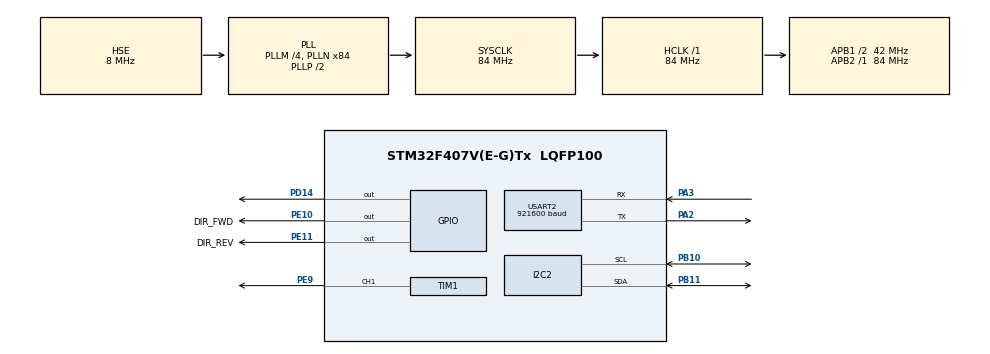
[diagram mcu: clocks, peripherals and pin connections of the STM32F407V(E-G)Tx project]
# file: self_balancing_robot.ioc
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Dma.I2C2_RX.1.Direction=DMA_PERIPH_TO_MEMORY
Dma.I2C2_RX.1.FIFOMode=DMA_FIFOMODE_DISABLE
Dma.I2C2_RX.1.Instance=DMA1_Stream2
Dma.I2C2_RX.1.MemDataAlignment=DMA_MDATAALIGN_BYTE
Dma.I2C2_RX.1.MemInc=DMA_MINC_ENABLE
Dma.I2C2_RX.1.Mode=DMA_NORMAL
Dma.I2C2_RX.1.PeriphDataAlignment=DMA_PDATAALIGN_BYTE
Dma.I2C2_RX.1.PeriphInc=DMA_PINC_DISABLE
Dma.I2C2_RX.1.Priority=DMA_PRIORITY_LOW
Dma.I2C2_TX.2.Direction=DMA_MEMORY_TO_PERIPH
Dma.I2C2_TX.2.FIFOMode=DMA_FIFOMODE_DISABLE
Dma.I2C2_TX.2.Instance=DMA1_Stream7
Dma.I2C2_TX.2.MemDataAlignment=DMA_MDATAALIGN_BYTE
Dma.I2C2_TX.2.MemInc=DMA_MINC_ENABLE
Dma.I2C2_TX.2.Mode=DMA_NORMAL
Dma.I2C2_TX.2.PeriphDataAlignment=DMA_PDATAALIGN_BYTE
Dma.I2C2_TX.2.PeriphInc=DMA_PINC_DISABLE
Dma.I2C2_TX.2.Priority=DMA_PRIORITY_LOW
Dma.Request0=USART2_TX
Dma.Request1=I2C2_RX
Dma.Request2=I2C2_TX
Dma.USART2_TX.0.Direction=DMA_MEMORY_TO_PERIPH
Dma.USART2_TX.0.FIFOMode=DMA_FIFOMODE_DISABLE
Dma.USART2_TX.0.Instance=DMA1_Stream6
Dma.USART2_TX.0.MemDataAlignment=DMA_MDATAALIGN_BYTE
Dma.USART2_TX.0.MemInc=DMA_MINC_ENABLE
Dma.USART2_TX.0.Mode=DMA_NORMAL
Dma.USART2_TX.0.PeriphDataAlignment=DMA_PDATAALIGN_BYTE
Dma.USART2_TX.0.PeriphInc=DMA_PINC_DISABLE
Dma.USART2_TX.0.Priority=DMA_PRIORITY_LOW
I2C2.I2C_Mode=I2C_Fast
Mcu.Family=STM32F4
Mcu.Name=STM32F407V(E-G)Tx
Mcu.Package=LQFP100
NVIC.DMA1_Stream2_IRQn=true\:0\:0\:false\:false\:true\:false\:true\:true
NVIC.DMA1_Stream6_IRQn=true\:0\:0\:false\:false\:true\:false\:true\:true
NVIC.DMA1_Stream7_IRQn=true\:0\:0\:false\:false\:true\:false\:true\:true
NVIC.I2C2_ER_IRQn=true\:0\:0\:false\:false\:true\:true\:true\:true
NVIC.I2C2_EV_IRQn=true\:0\:0\:false\:false\:true\:true\:true\:true
NVIC.PriorityGroup=NVIC_PRIORITYGROUP_4
NVIC.TIM6_DAC_IRQn=true\:0\:0\:false\:false\:true\:true\:true\:true
NVIC.USART2_IRQn=true\:0\:0\:false\:false\:true\:true\:true\:true
PA2.Mode=Asynchronous
PA2.Signal=USART2_TX
PA3.Mode=Asynchronous
PA3.Signal=USART2_RX
PB10.Mode=I2C
PB10.Signal=I2C2_SCL
PB11.Mode=I2C
PB11.Signal=I2C2_SDA
PD14.Signal=GPIO_Output
PE10.GPIO_Label=DIR_FWD
PE10.Signal=GPIO_Output
PE11.GPIO_Label=DIR_REV
PE11.Signal=GPIO_Output
PE9.Signal=S_TIM1_CH1
PH0-OSC_IN.Mode=HSE-External-Oscillator
PH0-OSC_IN.Signal=RCC_OSC_IN
PH1-OSC_OUT.Mode=HSE-External-Oscillator
PH1-OSC_OUT.Signal=RCC_OSC_OUT
ProjectManager.HeapSize=0x200
ProjectManager.StackSize=0x400
ProjectManager.TargetToolchain=STM32CubeIDE
RCC.48MHZClocksFreq_Value=24000000
RCC.AHBFreq_Value=84000000
RCC.APB1CLKDivider=RCC_HCLK_DIV2
RCC.APB1Freq_Value=42000000
RCC.APB1TimFreq_Value=84000000
RCC.APB2Freq_Value=84000000
RCC.APB2TimFreq_Value=84000000
RCC.CortexFreq_Value=84000000
RCC.HCLKFreq_Value=84000000
RCC.HSE_VALUE=8000000
RCC.HSI_VALUE=16000000
RCC.LSE_VALUE=32768
RCC.PLLM=4
RCC.PLLN=84
RCC.PLLQ=7
RCC.PLLSourceVirtual=RCC_PLLSOURCE_HSE
RCC.SYSCLKFreq_VALUE=84000000
RCC.SYSCLKSource=RCC_SYSCLKSOURCE_PLLCLK
RCC.VCOOutputFreq_Value=168000000
SH.S_TIM1_CH1.0=TIM1_CH1,PWM Generation1 CH1
TIM1.Channel-PWM\ Generation1\ CH1=TIM_CHANNEL_1
TIM1.Period=4199
TIM6.AutoReloadPreload=TIM_AUTORELOAD_PRELOAD_DISABLE
TIM6.Period=49
TIM6.Prescaler=8399
USART2.BaudRate=921600
USART2.VirtualMode=VM_ASYNC
VP_TIM1_VS_ClockSourceINT.Mode=Internal
VP_TIM6_VS_ClockSourceINT.Mode=Enable_Timer
board=custom

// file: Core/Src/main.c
/* USER CODE BEGIN Header */
/**
 ******************************************************************************
 * @file           : main.c
 * @brief          : Main program body
 ******************************************************************************
 * @attention
 *
 * Copyright (c) 2025 STMicroelectronics.
 * All rights reserved.
 *
 * This software is licensed under terms that can be found in the LICENSE file
 * in the root directory of this software component.
 * If no LICENSE file comes with this software, it is provided AS-IS.
 *
 ******************************************************************************
 */
/* USER CODE END Header */
#include "main.h"

/* USER CODE BEGIN Includes */
#include <string.h>
#include <stdio.h>
#include <stdbool.h>
#include <math.h>
#include <float.h>
/* USER CODE END Includes */

/* USER CODE BEGIN PD */
#define MPU_WHO_AM_I 0x75    // WHO_AM_I
#define MPU_ADDR (0x68 << 1) // MPU6050 I2C addr
#define MPU_PWR_MGMT_1 0x6B  // Wake, PLL X
#define MPU_CONFIG 0x1A
#define MPU_SMPLRT_DIV 0x19
#define MPU_GYRO_CONFIG 0x1B
#define MPU_ACCEL_CONFIG 0x1C
#define MPU_INT 0x38
#define MPU_USER_CTRL 0x6A
#define MPU_ACCEL_XOUT_H 0x3B
#define ACCEL_LSB_PER_G 16384.0f
#define GYRO_LSB_PER_DPS 131.0f

/* USER CODE END PD */

/* USER CODE BEGIN PM */
/* Minimal state */
static volatile uint8_t i2c_busy = 0;      /* I2C DMA busy */
static volatile uint8_t data_ready = 0;    /* New sample ready */
static volatile uint8_t uart_tx_ready = 1; /* UART DMA idle */
static char uart_tx_buf[256];              /* UART TX buffer */
/* 1 s pacing (TIM6 200 Hz) */
static volatile uint16_t tick_count = 0;
static volatile uint8_t second_flag = 0; /* 1 Hz tick */
/* USER CODE END PM */

I2C_HandleTypeDef hi2c2;
DMA_HandleTypeDef hdma_i2c2_rx;
DMA_HandleTypeDef hdma_i2c2_tx;

TIM_HandleTypeDef htim1;
TIM_HandleTypeDef htim6;

UART_HandleTypeDef huart2;
DMA_HandleTypeDef hdma_usart2_tx;

/* USER CODE BEGIN PV */
/* MPU6050 sample (14B) */
static uint8_t mpu_buf[14];

/* Raw */
static int16_t ax_raw, ay_raw, az_raw;
static int16_t gx_raw, gy_raw, gz_raw;
static int16_t temp_raw;

/* Units */
static float ax_g, az_g;
// static float ay_g; // omitted
static float gy_dps;
// static float gx_dps, gz_dps // omitted
// static float temp_c; // omitted

/* Config */
/* PID gains (PWM counts if u_max = ARR) */
static float Kp = 1050.0f; /* P */
static float Ki = 5.0f;    /* I */
static float Kd = 0.25f;   /* D (gyro) */

/* Power & deadband */
static float max_power_scale = 0.8f; /* max duty scale */
static float min_power_scale = 0.0f; /* min duty scale */

static float max_deadband = 0.0f; /* angle to enable output */
static float min_deadband = 0.0f; /* angle to reset */

static float safety_angle_deg = 35.0f; /* tilt cutoff (deg) */

static float offset_angle = -1.5f; /* angle offset */

/* Integral clamp */
static float integral_limit = 5000.0f;

/* Complementary filter */
static float cf_alpha = 0.95f;

/* Timing */
static const float dt = 0.005f; /* 1/200 Hz */

/* State */
static float pitch_acc_deg = 0.0f; /* accel-only pitch */
static float pitch_deg = 0.0f;     /* fused pitch */
static float error;
static float prev_pitch_deg = 0.0f;                    /* last fused angle */
static float pid_P = 0.0f, pid_I = 0.0f, pid_D = 0.0f; /* PID terms */
static float pid_u = 0.0f;                             /* control output */
static uint8_t attitude_initialized = 0;               /* accel seed done */

/* Loop timing (us) */
static uint32_t loop_time_us = 0; /* last loop */

/* Cycle counter */
uint32_t arr;
float duty;
float max_duty;
float min_duty;

/* USER CODE END PV */

void SystemClock_Config(void);
static void MX_GPIO_Init(void);
static void MX_DMA_Init(void);
static void MX_TIM6_Init(void);
static void MX_USART2_UART_Init(void);
static void MX_TIM1_Init(void);
static void MX_I2C2_Init(void);

/* USER CODE BEGIN 0 */
static HAL_StatusTypeDef mpu_read_u8(uint8_t reg, uint8_t *val)
{
  return HAL_I2C_Mem_Read(&hi2c2, MPU_ADDR, reg, I2C_MEMADD_SIZE_8BIT, val, 1, 100);
}

static HAL_StatusTypeDef mpu_write_u8(uint8_t reg, uint8_t val)
{
  return HAL_I2C_Mem_Write(&hi2c2, MPU_ADDR, reg, I2C_MEMADD_SIZE_8BIT, &val, 1, 100);
}

static HAL_StatusTypeDef mpu_read_burst_dma(uint8_t start_reg, uint8_t *buf, uint16_t len)
{
  /* I2C Mem Read w/ DMA */
  return HAL_I2C_Mem_Read_DMA(&hi2c2, MPU_ADDR, start_reg, I2C_MEMADD_SIZE_8BIT, buf, len);
}

static bool mpu_init_200hz(void)
{
  /* Read WHO_AM_I */
  uint8_t who = 0;
  if (mpu_read_u8(MPU_WHO_AM_I, &who) != HAL_OK)
  {
    return false;
  }

  /* Accept IDs 0x68/0x69/0x70 */
  if (!(who == 0x68 || who == 0x69 || who == 0x70))
  {
    return false;
  }

  /* Wake + PLL X gyro */
  if (mpu_write_u8(MPU_PWR_MGMT_1, 0x01) != HAL_OK)
    return false;
  HAL_Delay(10);

  /* DLPF=3 */
  if (mpu_write_u8(MPU_CONFIG, 0x03) != HAL_OK)
    return false;

  /* ODR 200 Hz */
  if (mpu_write_u8(MPU_SMPLRT_DIV, 0x04) != HAL_OK)
    return false;

  /* Gyro ±250 dps, Accel ±2 g */
  if (mpu_write_u8(MPU_GYRO_CONFIG, 0x00) != HAL_OK)
    return false;
  if (mpu_write_u8(MPU_ACCEL_CONFIG, 0x00) != HAL_OK)
    return false;

  /* Disable INT/FIFO/master */
  (void)mpu_write_u8(MPU_INT, 0x00);
  (void)mpu_write_u8(MPU_USER_CTRL, 0x00);

  return true;
}

static void transmit_once_per_second(void)
{
  if (!second_flag || !uart_tx_ready)
    return;
  second_flag = 0;
  /* Once/sec log */
  int n = snprintf(uart_tx_buf, sizeof(uart_tx_buf),
                   "P= %.1f I= %.1f D= %.1f | Angle= %.2f error= %.2f PWM= %.0f PID= %.1f | loop_us= %lu\r\n",
                   pid_P, pid_I, pid_D, pitch_deg, error, duty, pid_u, (unsigned long)loop_time_us);
  if (n > 0)
  {
    uart_tx_ready = 0;
    if (HAL_UART_Transmit_DMA(&huart2, (uint8_t *)uart_tx_buf, (uint16_t)n) != HAL_OK)
    {
      uart_tx_ready = 1;
    }
  }
}

/* ===================== Control & PID =====================*/

/* Enable DWT cycle counter */
static void cycle_counter_init(void)
{
  CoreDebug->DEMCR |= CoreDebug_DEMCR_TRCENA_Msk; /* enable trace */
#ifdef DWT_LAR
  DWT->LAR = 0xC5ACCE55; /* unlock */
#endif
  DWT->CYCCNT = 0;                     /* reset */
  DWT->CTRL |= DWT_CTRL_CYCCNTENA_Msk; /* start */
}

/* cycles->us */
static uint32_t cycles_to_us(uint32_t cycles)
{
  return (uint32_t)((uint64_t)cycles * 1000000ULL / SystemCoreClock);
}

/* Drive motors from PID output */
static void motor_set_output(float u_counts, float current_pitch_deg)
{
  /* CH1 PWM, two DIR pins */

  /* Tilt cutoff */
  if (fabsf(current_pitch_deg) > safety_angle_deg)
  {
    __HAL_TIM_SET_COMPARE(&htim1, TIM_CHANNEL_1, 0);
    pid_u = 0.0f;
    pid_I = 0.0f;
    pid_D = 0.0f;

    HAL_GPIO_WritePin(DIR_FWD_GPIO_Port, DIR_FWD_Pin, GPIO_PIN_RESET);
    HAL_GPIO_WritePin(DIR_REV_GPIO_Port, DIR_REV_Pin, GPIO_PIN_RESET);
    return;
  }

  /* Angle deadband */
  float abs_angle = fabsf(current_pitch_deg);

  if (abs_angle < min_deadband)
  {
    // tight zone: zero and reset I
    duty = 0.0f;
    pid_I = 0.0f;
  }
  else if (abs_angle > max_deadband)
  {
    // outside: compute duty
    duty = fabsf(u_counts);
    duty = min_duty + ((duty / arr) * (max_duty - min_duty));
    if (duty > max_duty)
      duty = max_duty;
  }
  else
  {
    // between: keep duty
  }

  /* PWM */
  __HAL_TIM_SET_COMPARE(&htim1, TIM_CHANNEL_1, (uint32_t)duty);

  /* Dir */
  if (duty == 0.0f)
  {
    HAL_GPIO_WritePin(DIR_FWD_GPIO_Port, DIR_FWD_Pin, GPIO_PIN_RESET);
    HAL_GPIO_WritePin(DIR_REV_GPIO_Port, DIR_REV_Pin, GPIO_PIN_RESET);
  }
  else if (u_counts >= 0.0f)
  {
    HAL_GPIO_WritePin(DIR_FWD_GPIO_Port, DIR_FWD_Pin, GPIO_PIN_SET);
    HAL_GPIO_WritePin(DIR_REV_GPIO_Port, DIR_REV_Pin, GPIO_PIN_RESET);
  }
  else
  {
    HAL_GPIO_WritePin(DIR_FWD_GPIO_Port, DIR_FWD_Pin, GPIO_PIN_RESET);
    HAL_GPIO_WritePin(DIR_REV_GPIO_Port, DIR_REV_Pin, GPIO_PIN_SET);
  }
}

/* 200 Hz control loop */
static void control_update(void)
{
  uint32_t start_cycles = DWT->CYCCNT;

  /* Pitch (deg): atan2(-Ax, Az) */
  pitch_acc_deg = atan2f(-ax_g, az_g) * 57.2957795131f;

  if (!attitude_initialized)
  {
    prev_pitch_deg = pitch_acc_deg;
    attitude_initialized = 1;
  }

  /* Complementary filter */
  pitch_deg = cf_alpha * (prev_pitch_deg + gy_dps * dt) + (1.0f - cf_alpha) * pitch_acc_deg;
  prev_pitch_deg = pitch_deg;

  /* PID */
  error = offset_angle - pitch_deg; // Target = offset
  pid_P = Kp * error;
  pid_D = Kd * (-gy_dps); // D on gyro
  pid_I += Ki * error * dt;
  if (pid_I > integral_limit)
    pid_I = integral_limit;
  else if (pid_I < -integral_limit)
    pid_I = -integral_limit;
  pid_u = pid_P + pid_I + pid_D;

  /* Motor */
  motor_set_output(pid_u, error);

  loop_time_us = cycles_to_us(DWT->CYCCNT - start_cycles); /* loop time */
}

static void process_sample_and_stream(void)
{
  /* Parse */
  ax_raw = (int16_t)((mpu_buf[0] << 8) | mpu_buf[1]);
  ay_raw = (int16_t)((mpu_buf[2] << 8) | mpu_buf[3]);
  az_raw = (int16_t)((mpu_buf[4] << 8) | mpu_buf[5]);
  temp_raw = (int16_t)((mpu_buf[6] << 8) | mpu_buf[7]);
  gx_raw = (int16_t)((mpu_buf[8] << 8) | mpu_buf[9]);
  gy_raw = (int16_t)((mpu_buf[10] << 8) | mpu_buf[11]);
  gz_raw = (int16_t)((mpu_buf[12] << 8) | mpu_buf[13]);

  /* To units */
  ax_g = (float)ax_raw / ACCEL_LSB_PER_G;
  // ay_g = (float)ay_raw / ACCEL_LSB_PER_G; // omitted
  az_g = -(float)az_raw / ACCEL_LSB_PER_G;
  // gx_dps = (float)gx_raw / GYRO_LSB_PER_DPS; // omitted
  gy_dps = -(float)gy_raw / GYRO_LSB_PER_DPS;
  // gz_dps = (float)gz_raw / GYRO_LSB_PER_DPS; // omitted
  // temp_c = (float)temp_raw / 340.0f + 36.53f; // omitted

  control_update();
}
/* USER CODE END 0 */

int main(void)
{

  /* MCU Configuration--------------------------------------------------------*/

  /* Reset of all peripherals, Initializes the Flash interface and the Systick. */
  HAL_Init();

  /* Configure the system clock */
  SystemClock_Config();

  /* Initialize all configured peripherals */
  MX_GPIO_Init();
  MX_DMA_Init();
  MX_TIM6_Init();
  MX_USART2_UART_Init();
  MX_TIM1_Init();
  MX_I2C2_Init();
  /* USER CODE BEGIN 2 */
  cycle_counter_init();
  HAL_Delay(50);
  if (!mpu_init_200hz())
  {
    /* On fail, report */
    char err[] = "MPU init failed\r\n";
    HAL_UART_Transmit(&huart2, (uint8_t *)err, sizeof(err) - 1, HAL_MAX_DELAY);
    HAL_GPIO_WritePin(GPIOD, GPIO_PIN_14, GPIO_PIN_SET);
    while (1)
    {
      HAL_Delay(1000);
    }
  }
  else
  {
    char ok[] = "MPU init OK\r\n";
    HAL_UART_Transmit(&huart2, (uint8_t *)ok, sizeof(ok) - 1, HAL_MAX_DELAY);
  }

  HAL_TIM_Base_Start_IT(&htim6);
  HAL_TIM_PWM_Start(&htim1, TIM_CHANNEL_1); /* PWM ready */
  arr = __HAL_TIM_GET_AUTORELOAD(&htim1);
  max_duty = max_power_scale * arr;
  min_duty = min_power_scale * arr; /* min PWM */
  /* USER CODE END 2 */

  /* Infinite loop */
  /* USER CODE BEGIN WHILE */
  while (1)
  {
    if (data_ready)
    {
      data_ready = 0;
      process_sample_and_stream();
    }
    transmit_once_per_second();
    /* USER CODE END WHILE */

  }
}

void SystemClock_Config(void)
{
  RCC_OscInitTypeDef RCC_OscInitStruct = {0};
  RCC_ClkInitTypeDef RCC_ClkInitStruct = {0};

  /** Configure the main internal regulator output voltage
   */
  __HAL_RCC_PWR_CLK_ENABLE();
  __HAL_PWR_VOLTAGESCALING_CONFIG(PWR_REGULATOR_VOLTAGE_SCALE1);

  /** Initializes the RCC Oscillators according to the specified parameters
   * in the RCC_OscInitTypeDef structure.
   */
  RCC_OscInitStruct.OscillatorType = RCC_OSCILLATORTYPE_HSE;
  RCC_OscInitStruct.HSEState = RCC_HSE_ON;
  RCC_OscInitStruct.PLL.PLLState = RCC_PLL_ON;
  RCC_OscInitStruct.PLL.PLLSource = RCC_PLLSOURCE_HSE;
  RCC_OscInitStruct.PLL.PLLM = 4;
  RCC_OscInitStruct.PLL.PLLN = 84;
  RCC_OscInitStruct.PLL.PLLP = RCC_PLLP_DIV2;
  RCC_OscInitStruct.PLL.PLLQ = 7;
  if (HAL_RCC_OscConfig(&RCC_OscInitStruct) != HAL_OK)
  {
    Error_Handler();
  }

  /** Initializes the CPU, AHB and APB buses clocks
   */
  RCC_ClkInitStruct.ClockType = RCC_CLOCKTYPE_HCLK | RCC_CLOCKTYPE_SYSCLK | RCC_CLOCKTYPE_PCLK1 | RCC_CLOCKTYPE_PCLK2;
  RCC_ClkInitStruct.SYSCLKSource = RCC_SYSCLKSOURCE_PLLCLK;
  RCC_ClkInitStruct.AHBCLKDivider = RCC_SYSCLK_DIV1;
  RCC_ClkInitStruct.APB1CLKDivider = RCC_HCLK_DIV2;
  RCC_ClkInitStruct.APB2CLKDivider = RCC_HCLK_DIV1;

  if (HAL_RCC_ClockConfig(&RCC_ClkInitStruct, FLASH_LATENCY_2) != HAL_OK)
  {
    Error_Handler();
  }
}

static void MX_I2C2_Init(void)
{

  hi2c2.Instance = I2C2;
  hi2c2.Init.ClockSpeed = 400000;
  hi2c2.Init.DutyCycle = I2C_DUTYCYCLE_2;
  hi2c2.Init.OwnAddress1 = 0;
  hi2c2.Init.AddressingMode = I2C_ADDRESSINGMODE_7BIT;
  hi2c2.Init.DualAddressMode = I2C_DUALADDRESS_DISABLE;
  hi2c2.Init.OwnAddress2 = 0;
  hi2c2.Init.GeneralCallMode = I2C_GENERALCALL_DISABLE;
  hi2c2.Init.NoStretchMode = I2C_NOSTRETCH_DISABLE;
  if (HAL_I2C_Init(&hi2c2) != HAL_OK)
  {
    Error_Handler();
  }
}

static void MX_TIM1_Init(void)
{

  TIM_ClockConfigTypeDef sClockSourceConfig = {0};
  TIM_MasterConfigTypeDef sMasterConfig = {0};
  TIM_OC_InitTypeDef sConfigOC = {0};
  TIM_BreakDeadTimeConfigTypeDef sBreakDeadTimeConfig = {0};

  htim1.Instance = TIM1;
  htim1.Init.Prescaler = 0;
  htim1.Init.CounterMode = TIM_COUNTERMODE_UP;
  htim1.Init.Period = 4199;
  htim1.Init.ClockDivision = TIM_CLOCKDIVISION_DIV1;
  htim1.Init.RepetitionCounter = 0;
  htim1.Init.AutoReloadPreload = TIM_AUTORELOAD_PRELOAD_DISABLE;
  if (HAL_TIM_Base_Init(&htim1) != HAL_OK)
  {
    Error_Handler();
  }
  sClockSourceConfig.ClockSource = TIM_CLOCKSOURCE_INTERNAL;
  if (HAL_TIM_ConfigClockSource(&htim1, &sClockSourceConfig) != HAL_OK)
  {
    Error_Handler();
  }
  if (HAL_TIM_PWM_Init(&htim1) != HAL_OK)
  {
    Error_Handler();
  }
  sMasterConfig.MasterOutputTrigger = TIM_TRGO_RESET;
  sMasterConfig.MasterSlaveMode = TIM_MASTERSLAVEMODE_DISABLE;
  if (HAL_TIMEx_MasterConfigSynchronization(&htim1, &sMasterConfig) != HAL_OK)
  {
    Error_Handler();
  }
  sConfigOC.OCMode = TIM_OCMODE_PWM1;
  sConfigOC.Pulse = 0;
  sConfigOC.OCPolarity = TIM_OCPOLARITY_HIGH;
  sConfigOC.OCNPolarity = TIM_OCNPOLARITY_HIGH;
  sConfigOC.OCFastMode = TIM_OCFAST_DISABLE;
  sConfigOC.OCIdleState = TIM_OCIDLESTATE_RESET;
  sConfigOC.OCNIdleState = TIM_OCNIDLESTATE_RESET;
  if (HAL_TIM_PWM_ConfigChannel(&htim1, &sConfigOC, TIM_CHANNEL_1) != HAL_OK)
  {
    Error_Handler();
  }
  sBreakDeadTimeConfig.OffStateRunMode = TIM_OSSR_DISABLE;
  sBreakDeadTimeConfig.OffStateIDLEMode = TIM_OSSI_DISABLE;
  sBreakDeadTimeConfig.LockLevel = TIM_LOCKLEVEL_OFF;
  sBreakDeadTimeConfig.DeadTime = 0;
  sBreakDeadTimeConfig.BreakState = TIM_BREAK_DISABLE;
  sBreakDeadTimeConfig.BreakPolarity = TIM_BREAKPOLARITY_HIGH;
  sBreakDeadTimeConfig.AutomaticOutput = TIM_AUTOMATICOUTPUT_DISABLE;
  if (HAL_TIMEx_ConfigBreakDeadTime(&htim1, &sBreakDeadTimeConfig) != HAL_OK)
  {
    Error_Handler();
  }
  HAL_TIM_MspPostInit(&htim1);
}

static void MX_TIM6_Init(void)
{

  TIM_MasterConfigTypeDef sMasterConfig = {0};

  htim6.Instance = TIM6;
  htim6.Init.Prescaler = 8399;
  htim6.Init.CounterMode = TIM_COUNTERMODE_UP;
  htim6.Init.Period = 49;
  htim6.Init.AutoReloadPreload = TIM_AUTORELOAD_PRELOAD_DISABLE;
  if (HAL_TIM_Base_Init(&htim6) != HAL_OK)
  {
    Error_Handler();
  }
  sMasterConfig.MasterOutputTrigger = TIM_TRGO_RESET;
  sMasterConfig.MasterSlaveMode = TIM_MASTERSLAVEMODE_DISABLE;
  if (HAL_TIMEx_MasterConfigSynchronization(&htim6, &sMasterConfig) != HAL_OK)
  {
    Error_Handler();
  }
  /* USER CODE BEGIN TIM6_Init 2 */
  /* TIM6 NVIC configured once in HAL_TIM_Base_MspInit; duplicate removed */
  /* USER CODE END TIM6_Init 2 */
}

static void MX_USART2_UART_Init(void)
{

  huart2.Instance = USART2;
  huart2.Init.BaudRate = 921600;
  huart2.Init.WordLength = UART_WORDLENGTH_8B;
  huart2.Init.StopBits = UART_STOPBITS_1;
  huart2.Init.Parity = UART_PARITY_NONE;
  huart2.Init.Mode = UART_MODE_TX_RX;
  huart2.Init.HwFlowCtl = UART_HWCONTROL_NONE;
  huart2.Init.OverSampling = UART_OVERSAMPLING_16;
  if (HAL_UART_Init(&huart2) != HAL_OK)
  {
    Error_Handler();
  }
}

static void MX_DMA_Init(void)
{

  /* DMA controller clock enable */
  __HAL_RCC_DMA1_CLK_ENABLE();

  /* DMA interrupt init */
  /* DMA1_Stream2_IRQn interrupt configuration */
  HAL_NVIC_SetPriority(DMA1_Stream2_IRQn, 0, 0);
  HAL_NVIC_EnableIRQ(DMA1_Stream2_IRQn);
  /* DMA1_Stream6_IRQn interrupt configuration */
  HAL_NVIC_SetPriority(DMA1_Stream6_IRQn, 0, 0);
  HAL_NVIC_EnableIRQ(DMA1_Stream6_IRQn);
  /* DMA1_Stream7_IRQn interrupt configuration */
  HAL_NVIC_SetPriority(DMA1_Stream7_IRQn, 0, 0);
  HAL_NVIC_EnableIRQ(DMA1_Stream7_IRQn);
}

static void MX_GPIO_Init(void)
{
  GPIO_InitTypeDef GPIO_InitStruct = {0};

  /* GPIO Ports Clock Enable */
  __HAL_RCC_GPIOH_CLK_ENABLE();
  __HAL_RCC_GPIOA_CLK_ENABLE();
  __HAL_RCC_GPIOE_CLK_ENABLE();
  __HAL_RCC_GPIOB_CLK_ENABLE();
  __HAL_RCC_GPIOD_CLK_ENABLE();

  /*Configure GPIO pin Output Level */
  HAL_GPIO_WritePin(GPIOE, DIR_FWD_Pin | DIR_REV_Pin, GPIO_PIN_RESET);

  /*Configure GPIO pin Output Level */
  HAL_GPIO_WritePin(GPIOD, GPIO_PIN_14, GPIO_PIN_RESET);

  /*Configure GPIO pins : DIR_FWD_Pin DIR_REV_Pin */
  GPIO_InitStruct.Pin = DIR_FWD_Pin | DIR_REV_Pin;
  GPIO_InitStruct.Mode = GPIO_MODE_OUTPUT_PP;
  GPIO_InitStruct.Pull = GPIO_NOPULL;
  GPIO_InitStruct.Speed = GPIO_SPEED_FREQ_LOW;
  HAL_GPIO_Init(GPIOE, &GPIO_InitStruct);

  /*Configure GPIO pin : PD14 */
  GPIO_InitStruct.Pin = GPIO_PIN_14;
  GPIO_InitStruct.Mode = GPIO_MODE_OUTPUT_PP;
  GPIO_InitStruct.Pull = GPIO_NOPULL;
  GPIO_InitStruct.Speed = GPIO_SPEED_FREQ_LOW;
  HAL_GPIO_Init(GPIOD, &GPIO_InitStruct);

}

/* USER CODE BEGIN 4 */
void HAL_TIM_PeriodElapsedCallback(TIM_HandleTypeDef *htim)
{
  if (htim->Instance == TIM6)
  {
    if (!i2c_busy)
    {
      if (mpu_read_burst_dma(MPU_ACCEL_XOUT_H, mpu_buf, sizeof(mpu_buf)) == HAL_OK)
      {
        i2c_busy = 1;
      }
    }
    /* 200 Hz -> 1 Hz flag */
    if (++tick_count >= 100)
    {
      tick_count = 0;
      second_flag = 1;
    }
  }
}

void HAL_I2C_MemRxCpltCallback(I2C_HandleTypeDef *hi2c)
{
  if (hi2c == &hi2c2)
  {
    i2c_busy = 0;
    data_ready = 1; /* signal main loop */
  }
}

void HAL_I2C_ErrorCallback(I2C_HandleTypeDef *hi2c)
{
  if (hi2c == &hi2c2)
  {
    i2c_busy = 0; /* retry next tick */
    /* severe errors: reinit if needed */
  }
}

void HAL_UART_TxCpltCallback(UART_HandleTypeDef *huart)
{
  if (huart == &huart2)
  {
    uart_tx_ready = 1;
  }
}
/* USER CODE END 4 */

void Error_Handler(void)
{
  __disable_irq();
  while (1)
  {
  }
}
